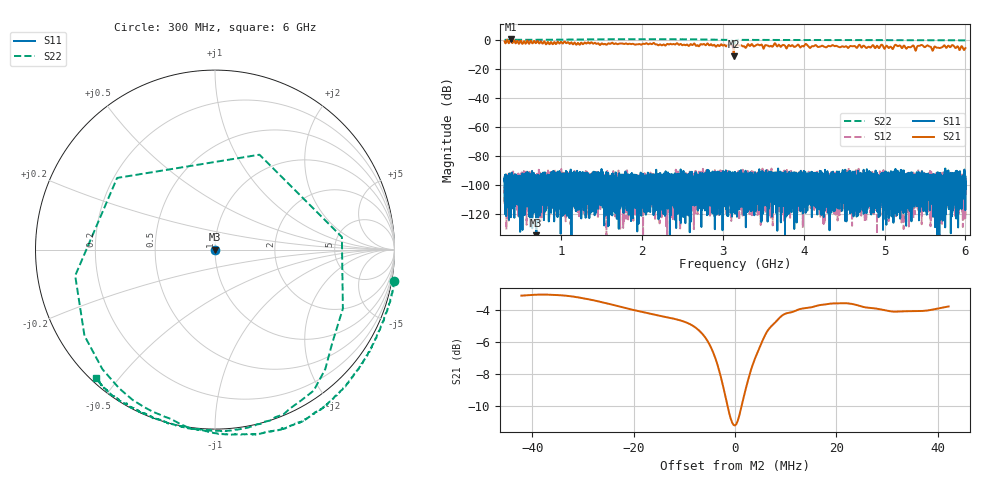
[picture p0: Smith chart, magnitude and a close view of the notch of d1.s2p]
!Agilent Technologies,N5230C,SG49000117,A.08.50.07
!Agilent N5230C: A.08.50.07
!Date: Sunday, March 17, 2024 00:25:50
!Correction: S11(Off)
!S21(Off)
!S12(Off)
!S22(Full 1 Port(2))
!S2P File: Measurements: S11, S21, S12, S22:
# Hz S  RI  R 50
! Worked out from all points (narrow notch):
!   20001 points, 300 MHz to 6 GHz, reference 50 ohm
!   highest |S21| = 0.39 dB at 374.1 MHz (marker M1); lowest = -11.2 dB at 3.134 GHz (marker M2)
!   notch at M2: 7.7 dB deep, 7.05 MHz wide at half that depth
!   lowest |S11| = -153.1 dB at 692.4 MHz (marker M3), VSWR 1.00, Z = 50 - j2.22e-06 ohm
!   |S11| at or under -10 dB: start of sweep to end of sweep
!   |S22| runs from -4.7 to 0.6 dB; largest |S21 - S12| = 1
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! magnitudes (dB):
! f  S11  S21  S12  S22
! 300 MHz  -95.5  -1.0  -101.1  0.1
! 374.1 MHz  -110.0  0.4  -101.3  0.1
! 692.4 MHz  -153.1  -1.8  -96.9  0.2
! 1.25 GHz  -99.6  -1.8  -102.7  0.4
! 2.2 GHz  -98.1  -3.7  -103.4  0.6
! 3.082 GHz  -103.4  -3.4  -99.5  -0.1
! 3.134 GHz  -99.8  -11.2  -110.3  -3.2
! 3.15 GHz  -112.5  -3.7  -99.9  -1.4
! 3.172 GHz  -95.2  -4.0  -93.5  -0.1
! 3.269 GHz  -103.0  -4.6  -99.3  0.1
! 3.335 GHz  -98.2  -4.2  -109.3  0.1
! 3.659 GHz  -110.9  -3.4  -101.8  0.0
! 3.783 GHz  -96.6  -5.6  -93.6  0.0
! 4.031 GHz  -92.4  -2.8  -105.3  0.0
! 4.1 GHz  -103.2  -4.3  -105.0  0.0
! 5.05 GHz  -110.8  -5.5  -103.3  0.0
! 5.154 GHz  -91.7  -4.0  -108.1  0.0
! 5.39 GHz  -96.5  -6.8  -94.2  -0.1
! 5.449 GHz  -98.7  -3.5  -107.8  -0.1
! 5.604 GHz  -100.7  -6.4  -99.8  -0.1
! 5.84 GHz  -95.5  -3.5  -96.8  -0.2
! 6 GHz  -102.9  -5.6  -104.7  -0.2
